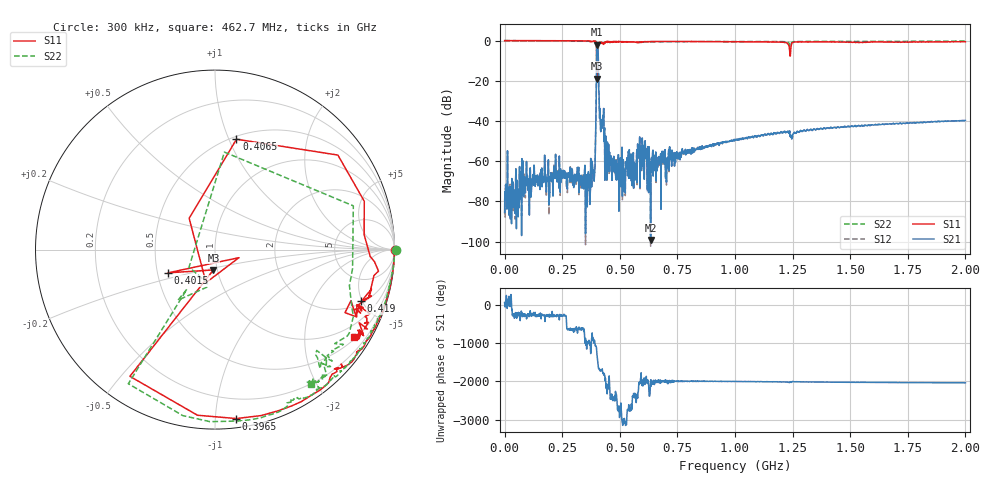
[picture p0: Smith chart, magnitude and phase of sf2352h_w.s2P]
!Agilent Technologies,E5071C,MY46104547,A.08.12
!Date: Thu Apr 21 14:10:55 2016
!Data & Calibration Information:
!Freq	S11:SOLT2(ON)	S21:SOLT2(ON)	S12:SOLT2(ON)	S22:SOLT2(ON)
# Hz S dB R 50
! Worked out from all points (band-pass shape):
!   1601 points, 300 kHz to 2 GHz, reference 50 ohm
!   highest |S21| = -2.05 dB at 402.7 MHz (marker M1); lowest = -99.3 dB at 634 MHz (marker M2)
!   |S21| within 3 dB of the highest: 400 MHz to 406.1 MHz (6.067 MHz wide, 1.51 % of centre)
!   lowest |S11| = -18.9 dB at 400.2 MHz (marker M3), VSWR 1.26, Z = 47.9 - j11 ohm
!   |S11| at or under -10 dB: 399.6 MHz to 405.7 MHz (6.046 MHz wide, 1.5 % of centre)
!   |S22| runs from -15.2 to 0.1 dB; largest |S21 - S12| = 0.0021
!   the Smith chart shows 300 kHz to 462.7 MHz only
!   S11 on the Smith chart (normalised r, x): 300 kHz: open; 396.5 MHz: 0.06, -1.13; 401.5 MHz: 0.57, -0.16; 406.5 MHz: 0.53, +1.07; 419 MHz: 2.15, -4.91; 462.7 MHz: 0.56, -3.36
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300000  0.00 -0.1  -85.57 50.9  -80.11 -75.4  0.08 -0.2
1.652752e8  -0.03 -14.6  -70.29 80.9  -69.21 80.1  -0.10 -24.0
3.339999e8  -0.09 -33.0  -71.01 86.6  -71.68 74.3  -0.23 -49.6
3.80243e8  -0.39 -46.2  -60.20 -17.8  -60.56 -17.8  -0.52 -63.1
3.877419e8  -0.20 -53.5  -67.21 153.5  -68.13 151.5  -0.25 -68.6
3.964906e8  -0.46 -82.8  -39.07 -4.4  -39.04 -4.3  -0.36 -91.7
4.0024e8  -18.89 -94.5  -2.91 -152.4  -2.90 -152.3  -11.36 -125.3
4.014898e8  -10.70 -153.7  -2.48 120.4  -2.49 120.3  -9.15 -126.2
4.027396e8  -17.02 -18.6  -2.05 49.0  -2.05 49.1  -13.47 -101.4
4.064891e8  -4.06 79.0  -6.27 -169.4  -6.30 -169.5  -5.26 84.5
4.189872e8  -1.27 -19.5  -39.52 72.2  -39.53 72.4  -1.31 -40.9
4.452332e8  -0.38 -27.5  -67.64 -167.1  -68.61 -173.1  -0.51 -50.5
4.627306e8  -0.78 -32.4  -59.14 69.0  -59.23 69.4  -0.72 -54.5
5.60216e8  -0.69 -43.9  -73.35 -157.3  -74.24 -153.4  -0.71 -68.4
6.064591e8  -0.54 -44.7  -69.00 -149.7  -69.13 -144.8  -0.62 -72.0
6.339549e8  -0.61 -48.3  -99.29 169.1  -102.31 -51.4  -0.54 -74.9
6.676999e8  -0.44 -51.6  -60.78 127.5  -60.74 127.2  -0.54 -78.6
1.00015e9  -0.58 -80.8  -49.59 156.2  -49.66 157.0  -0.49 -106.8
1.236365e9  -4.02 -116.7  -45.97 127.1  -46.06 126.5  -1.66 -128.4
1.33385e9  -0.65 -103.1  -44.58 142.2  -44.66 142.6  -0.41 -125.0
1.66755e9  -0.67 -124.1  -41.48 129.3  -41.50 129.5  -0.32 -138.6
2e9  -0.55 -137.3  -39.74 119.9  -39.73 120.2  -0.23 -147.2
